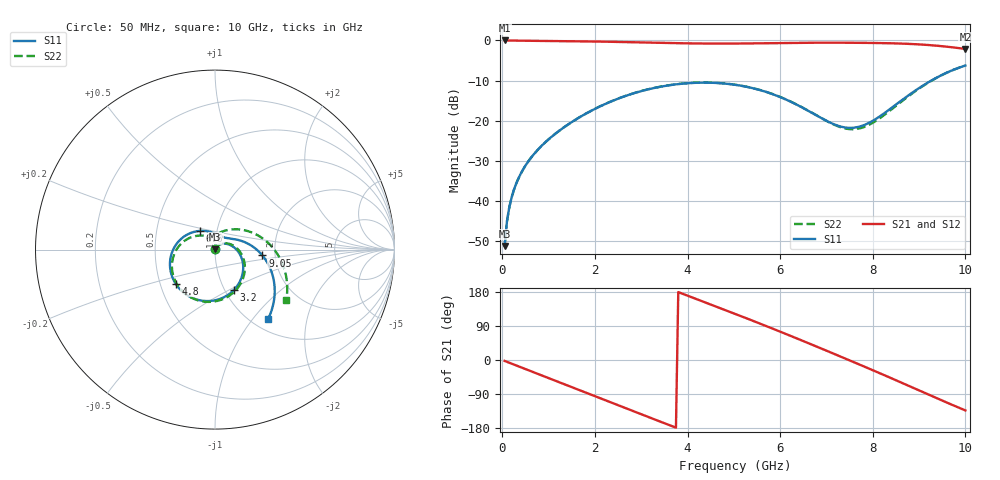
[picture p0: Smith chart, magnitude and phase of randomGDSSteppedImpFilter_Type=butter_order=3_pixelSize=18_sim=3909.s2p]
! freq	dB(S11)	phase(S11)	dB(S12)	phase(S12)
!  dB(S21)	phase(S21)	dB(S22)	phase(S22)
!S-par simulation data
#  GHz  S  DB  R 50
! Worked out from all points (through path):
!   200 points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, 50 MHz to 10 GHz, reference 50 ohm
!   highest |S21| = -0.01 dB at 50 MHz (marker M1); lowest = -2.1 dB at 10 GHz (marker M2)
!   group delay of S21, straight-line fit = 136 ps
!   lowest |S11| = -51.2 dB at 50 MHz (marker M3), VSWR 1.01, Z = 50.1 + j0.24 ohm
!   |S11| at or under -10 dB: start of sweep to 9.265 GHz
!   |S22| runs from -51.3 to -6.2 dB; largest |S21 - S12| = 0
!   S11 on the Smith chart (normalised r, x): 50 MHz: 1.00, +0.00; 3.2 GHz: 1.10, -0.53; 4.8 GHz: 0.60, -0.25; 6.6 GHz: 0.83, +0.18; 9.05 GHz: 1.71, -0.12; 10 GHz: 1.19, -1.20
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0.05  -51.21 60.4  -0.01 -2.4  -0.01 -2.4  -51.29 60.9
0.1  -45.17 64.7  -0.02 -4.8  -0.02 -4.8  -45.18 65.1
0.2  -39.19 63.5  -0.04 -9.6  -0.04 -9.6  -39.20 64.2
0.45  -32.14 55.6  -0.07 -21.5  -0.07 -21.5  -32.17 57.2
1.15  -23.22 27.9  -0.15 -54.9  -0.15 -54.9  -23.22 31.5
1.75  -18.61 1.3  -0.23 -83.6  -0.23 -83.6  -18.60 5.8
2.4  -14.98 -28.5  -0.35 -114.7  -0.35 -114.7  -14.96 -23.5
3.2  -12.06 -65.6  -0.55 -152.7  -0.55 -152.7  -12.04 -60.3
3.4  -11.58 -74.8  -0.60 -162.1  -0.60 -162.1  -11.56 -69.4
4.1  -10.61 -106.9  -0.75 165.2  -0.75 165.2  -10.58 -101.2
4.8  -10.75 -139.3  -0.79 132.5  -0.79 132.5  -10.73 -132.8
5.05  -11.10 -151.1  -0.78 120.7  -0.78 120.7  -11.08 -144.2
5.85  -13.45 169.6  -0.68 82.2  -0.68 82.2  -13.42 179.4
6.6  -17.51 128.4  -0.59 44.9  -0.59 44.9  -17.47 145.9
6.7  -18.15 122.3  -0.58 39.9  -0.58 39.9  -18.12 141.5
7.15  -20.85 92.2  -0.57 17.0  -0.57 17.0  -20.93 122.2
7.55  -21.79 64.3  -0.58 -3.5  -0.58 -3.5  -22.14 103.6
7.95  -20.37 41.6  -0.63 -24.3  -0.63 -24.3  -20.87 81.2
8.35  -17.30 23.7  -0.70 -45.4  -0.70 -45.4  -17.68 56.7
9.05  -11.50 -7.1  -1.03 -82.9  -1.03 -82.9  -11.62 15.7
9.5  -8.57 -28.3  -1.45 -107.1  -1.45 -107.1  -8.59 -9.2
10  -6.27 -52.4  -2.12 -133.0  -2.12 -133.0  -6.25 -35.4
